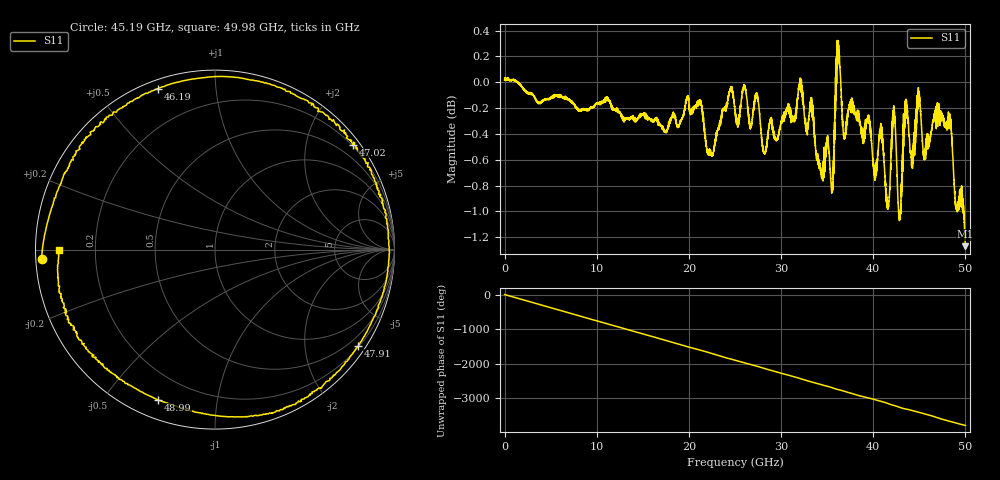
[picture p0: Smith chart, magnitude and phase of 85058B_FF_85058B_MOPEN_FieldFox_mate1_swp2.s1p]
!Created with skrf (http://scikit-rf.org).
# Hz S RI R 50.0
!freq ReS11 ImS11
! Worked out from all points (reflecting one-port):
!   10001 points, 300 kHz to 50 GHz, reference 50 ohm
!   lowest |S11| = -1.3 dB at 49.99 GHz (marker M1), VSWR 13.70, Z = 3.65 + j0.31 ohm
!   phase of S11 starts at 0 deg and turns -3781 deg over the sweep
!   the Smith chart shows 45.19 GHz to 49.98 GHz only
!   S11 on the Smith chart (normalised r, x): 45.19 GHz: 0.02, -0.03; 46.19 GHz: 0.04, +0.71; 47.02 GHz: 0.17, +2.96; 47.91 GHz: 0.23, -3.27; 48.99 GHz: 0.08, -0.69; 49.98 GHz: 0.07, -0.00
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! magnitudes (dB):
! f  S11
! 300 kHz  0.0
! 6.25 GHz  -0.1
! 12.5 GHz  -0.2
! 18.75 GHz  -0.3
! 21.17 GHz  -0.2
! 22.42 GHz  -0.6
! 25 GHz  -0.2
! 28.21 GHz  -0.6
! 31.25 GHz  -0.3
! 32.11 GHz  0.0
! 35.49 GHz  -0.9
! 36.18 GHz  0.3
! 36.84 GHz  -0.4
! 37.5 GHz  -0.2
! 40.19 GHz  -0.7
! 40.86 GHz  -0.4
! 41.56 GHz  -1.0
! 42.25 GHz  -0.2
! 42.86 GHz  -1.1
! 43.75 GHz  -0.3
! 45.19 GHz  -0.3
! 46.19 GHz  -0.4
! 47.02 GHz  -0.3
! 47.91 GHz  -0.3
! 48.99 GHz  -1.0
! 49.98 GHz  -1.2
! 49.99 GHz  -1.3
! 50 GHz  -1.3
